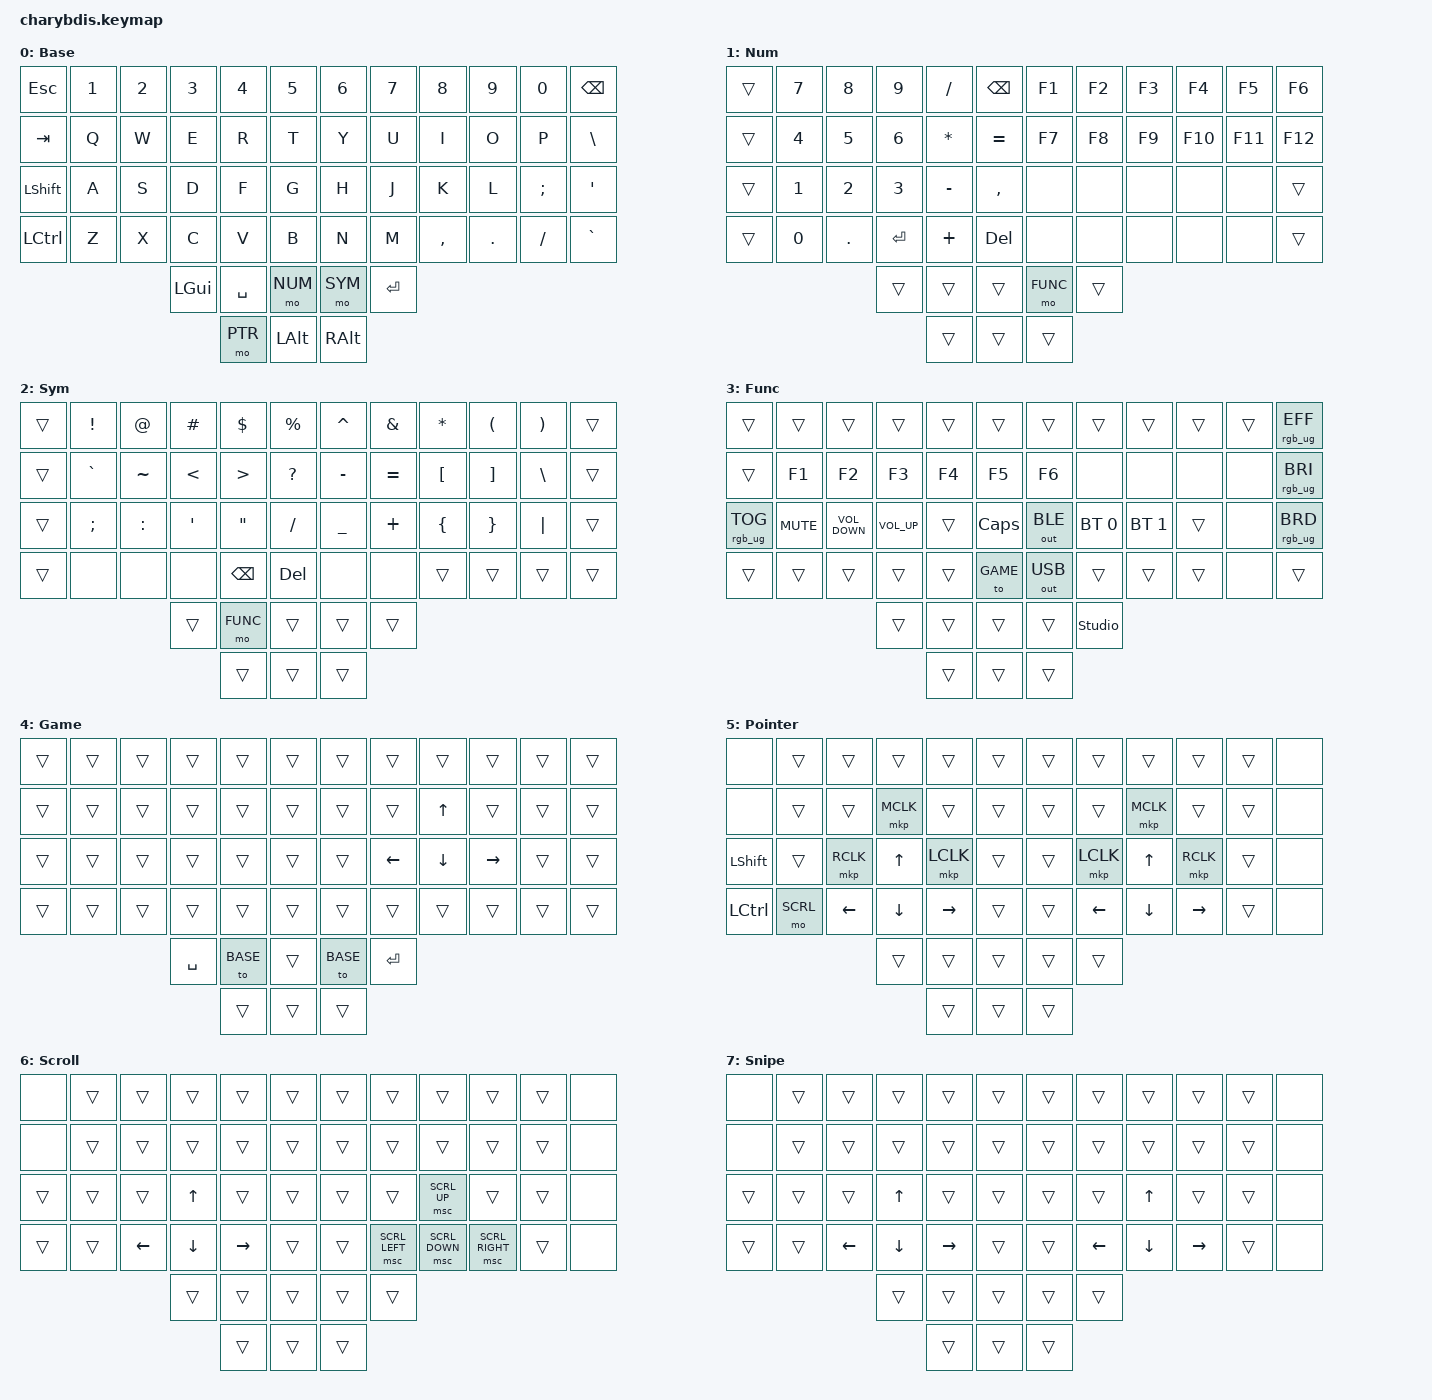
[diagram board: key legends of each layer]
#include <behaviors/mouse_keys.dtsi>
#include <behaviors.dtsi>
#include <dt-bindings/zmk/bt.h>
#include <dt-bindings/zmk/keys.h>
#include <dt-bindings/zmk/mouse.h>
#include <dt-bindings/zmk/outputs.h>
#include <dt-bindings/zmk/rgb.h>

#define BASE 0
#define NUM 1
#define SYM 2
#define FUNC 3
#define GAME 4
#define PTR 5
#define SCRL 6
#define SNIP 7

&sl { release-after-ms = <250>; };

/ {
    #include "combos.dtsi"

    keymap {
        compatible = "zmk,keymap";

        Base {
            label = "Base";
            bindings = <
&kp ESC         &kp N1  &kp N2  &kp N3          &kp N4   &kp N5         &kp N6      &kp N7           &kp N8     &kp N9   &kp N0     &kp BSPC
&kp TAB         &kp Q   &kp W   &kp E           &kp R    &kp T          &kp Y       &kp U            &kp I      &kp O    &kp P      &kp BACKSLASH
&kp LSHIFT      &kp A   &kp S   &kp D           &kp F    &kp G          &kp H       &kp J            &kp K      &kp L    &kp SEMI   &kp APOS
&kp LCTRL       &kp Z   &kp X   &kp C           &kp V    &kp B          &kp N       &kp M            &kp COMMA  &kp DOT  &kp SLASH  &kp GRAVE
                                &kp LGUI        &kp SPACE  &mo NUM  &mo SYM     &kp ENTER
                                                &mo PTR   &kp LALT  &kp RALT
            >;
        };

        Num {
            label = "Num";
            bindings = <
&trans  &kp N7  &kp N8   &kp N9     &kp SLASH  &kp BSPC   &kp F1  &kp F2  &kp F3     &kp F4    &kp F5  &kp F6
&trans  &kp N4  &kp N5   &kp N6     &kp ASTRK  &kp EQUAL  &kp F7  &kp F8  &kp F9     &kp F10   &kp F11 &kp F12
&trans  &kp N1  &kp N2   &kp N3     &kp MINUS  &kp COMMA  &none   &none   &none       &none     &none   &trans
&trans  &kp N0  &kp DOT  &kp ENTER  &kp PLUS   &kp DEL    &none   &none   &none       &none     &none   &trans
                            &trans    &trans      &trans     &mo FUNC  &trans
                                      &trans      &trans     &trans
            >;
        };

        Sym {
            label = "Sym";
            bindings = <
&trans  &kp EXCL   &kp AT     &kp HASH  &kp DLLR      &kp PRCNT  &kp CARET  &kp AMPS   &kp ASTRK  &kp LPAR  &kp RPAR       &trans
&trans  &kp GRAVE  &kp TILDE  &kp LT    &kp GT        &kp QMARK  &kp MINUS  &kp EQUAL  &kp LBKT   &kp RBKT  &kp BACKSLASH  &trans
&trans  &kp SEMI   &kp COLON  &kp APOS  &kp DQT       &kp SLASH  &kp UNDER  &kp PLUS   &kp LBRC   &kp RBRC  &kp PIPE       &trans
&trans  &none      &none      &none     &kp BACKSPACE &kp DEL    &none      &none      &trans     &trans    &trans         &trans
                               &trans    &mo FUNC      &trans      &trans     &trans
                                         &trans        &trans      &trans
            >;
        };

        Func {
            label = "Func";
            bindings = <
&trans           &trans      &trans             &trans        &trans  &trans      &trans        &trans        &trans        &trans          &trans   &rgb_ug RGB_EFF
&trans           &kp F1      &kp F2             &kp F3        &kp F4  &kp F5      &kp F6        &none         &none          &none           &none     &rgb_ug RGB_BRI
&rgb_ug RGB_TOG  &kp K_MUTE  &kp C_VOLUME_DOWN  &kp C_VOL_UP  &trans  &kp CAPS    &out OUT_BLE  &bt BT_SEL 0  &bt BT_SEL 1  &trans          &none     &rgb_ug RGB_BRD
&trans           &trans      &trans             &trans        &trans  &to GAME    &out OUT_USB  &trans        &trans        &trans          &none     &trans
                                                &trans        &trans  &trans      &trans        &studio_unlock
                                                              &trans  &trans      &trans
            >;
        };

        Game {
            label = "Game";
            bindings = <
&trans  &trans  &trans  &trans     &trans    &trans    &trans    &trans     &trans    &trans     &trans  &trans
&trans  &trans  &trans  &trans     &trans    &trans    &trans    &trans     &kp UP    &trans     &trans  &trans
&trans  &trans  &trans  &trans     &trans    &trans    &trans    &kp LEFT   &kp DOWN  &kp RIGHT  &trans  &trans
&trans  &trans  &trans  &trans     &trans    &trans    &trans    &trans     &trans    &trans     &trans  &trans
                        &kp SPACE  &to BASE  &trans    &to BASE  &kp ENTER
                                   &trans    &trans    &trans
            >;
        };

        Ptr {
            label = "Pointer";
            bindings = <
&none  &trans    &trans    &trans    &trans     &trans  &trans  &trans     &trans    &trans     &trans  &none
&none  &trans    &trans    &mkp MCLK  &trans     &trans  &trans  &trans     &mkp MCLK  &trans     &trans  &none
&kp LSHIFT  &trans    &mkp RCLK  &kp UP    &mkp LCLK  &trans  &trans  &mkp LCLK  &kp UP     &mkp RCLK  &trans  &none
&kp LCTRL   &mo SCRL  &kp LEFT   &kp DOWN  &kp RIGHT  &trans  &trans  &kp LEFT   &kp DOWN   &kp RIGHT  &trans  &none
                            &trans  &trans  &trans  &trans   &trans
                                    &trans  &trans  &trans
            >;
        };

        Scroll {
            label = "Scroll";
            bindings = <
&none  &trans  &trans    &trans    &trans     &trans  &trans  &trans          &trans          &trans           &trans  &none
&none  &trans  &trans    &trans    &trans     &trans  &trans  &trans          &trans          &trans           &trans  &none
&trans  &trans  &trans    &kp UP    &trans     &trans  &trans  &trans          &msc SCRL_UP    &trans           &trans  &none
&trans  &trans  &kp LEFT  &kp DOWN  &kp RIGHT  &trans  &trans  &msc SCRL_LEFT  &msc SCRL_DOWN  &msc SCRL_RIGHT  &trans  &none
                          &trans  &trans  &trans  &trans  &trans
                                  &trans  &trans  &trans
            >;
        };

        Snipe {
            label = "Snipe";
            bindings = <
&none  &trans  &trans    &trans    &trans     &trans  &trans  &trans    &trans    &trans     &trans  &none
&none  &trans  &trans    &trans    &trans     &trans  &trans  &trans    &trans    &trans     &trans  &none
&trans  &trans  &trans    &kp UP    &trans     &trans  &trans  &trans    &kp UP    &trans     &trans  &none
&trans  &trans  &kp LEFT  &kp DOWN  &kp RIGHT  &trans  &trans  &kp LEFT  &kp DOWN  &kp RIGHT  &trans  &none
                        &trans  &trans  &trans  &trans  &trans
                                &trans  &trans  &trans
            >;
        };
    };
};
